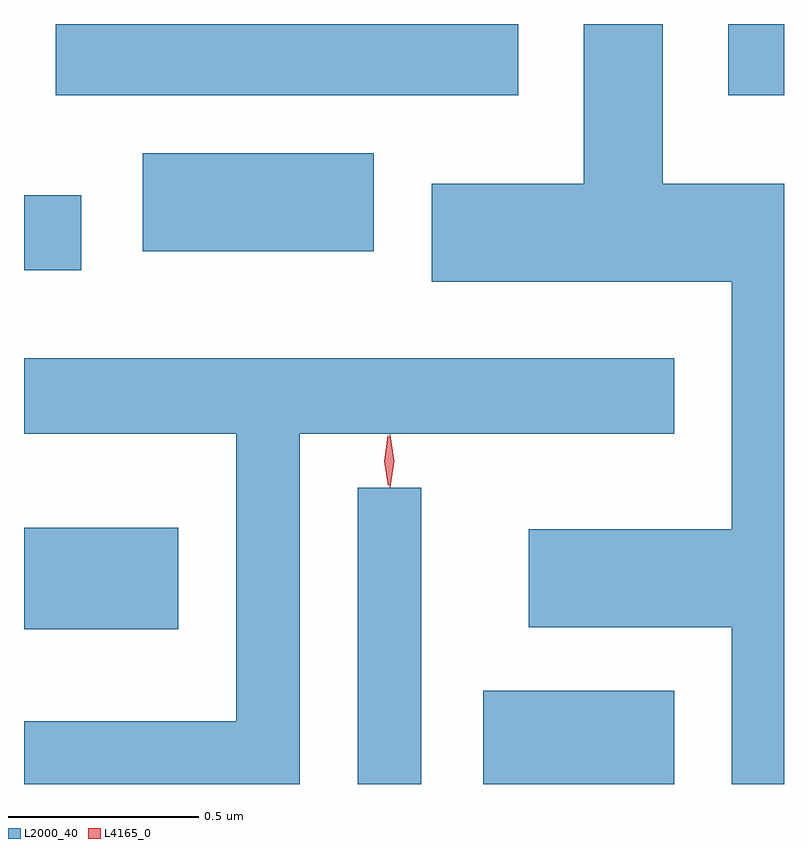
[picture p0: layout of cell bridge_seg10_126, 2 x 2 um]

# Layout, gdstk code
import gdstk
lib = gdstk.Library(unit=1e-6, precision=1e-09)
def R(c, l, rs):  # rectangles x0, y0, x1, y1
    for r in rs: c.add(gdstk.rectangle(r[:2], r[2:], *l))
def P(c, l, *ps):  # polygons
    for p in ps: c.add(gdstk.Polygon(p, *l))
L2000_40 = (2000, 40)
L4165_0 = (4165, 0)

bridge_seg10_126 = lib.new_cell('bridge_seg10_126')
R(bridge_seg10_126, L2000_40, [(1696.521,2141.394,1696.689,2142.173), (1696.851,2141.394,1697.354,2141.639), (1695.643,2141.801,1696.049,2142.069), (1695.643,2142.746,1695.794,2142.944), (1695.956,2142.796,1696.564,2143.054), (1695.726,2143.206,1696.944,2143.394), (1697.496,2143.206,1697.643,2143.394)])
P(bridge_seg10_126, L2000_40, [(1697.643,2142.974),(1697.324,2142.974),(1697.324,2143.394),(1697.116,2143.394),(1697.116,2142.974),(1696.716,2142.974),(1696.716,2142.716),(1697.506,2142.716),(1697.506,2142.064),(1696.971,2142.064),(1696.971,2141.806),(1697.506,2141.806),(1697.506,2141.394),(1697.643,2141.394)],
  [(1696.369,2142.316),(1697.354,2142.316),(1697.354,2142.514),(1695.643,2142.514),(1695.643,2142.316),(1696.201,2142.316),(1696.201,2141.559),(1695.643,2141.559),(1695.643,2141.394),(1696.369,2141.394)])
P(bridge_seg10_126, L4165_0, [(1696.607,2142.174),(1696.606,2142.175),(1696.597,2142.244),(1696.606,2142.313),(1696.607,2142.314),(1696.607,2142.313),(1696.617,2142.244),(1696.607,2142.175)],
  [(1696.601,2142.178),(1696.601,2142.178),(1696.591,2142.244),(1696.6,2142.31),(1696.601,2142.311),(1696.601,2142.31),(1696.611,2142.244),(1696.602,2142.178)])

lib.write_gds('bridge_seg10_126.gds')
